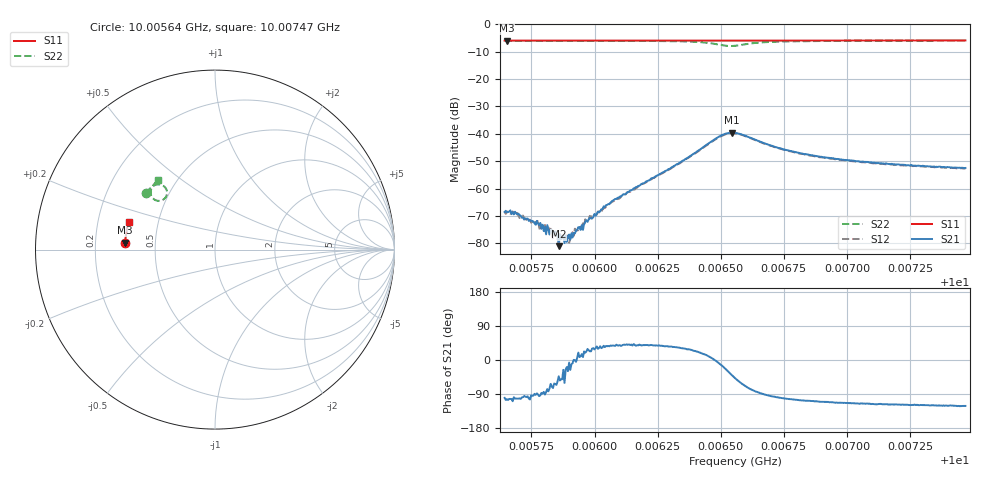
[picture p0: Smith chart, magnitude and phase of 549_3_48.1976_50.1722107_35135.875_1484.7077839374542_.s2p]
#  HZ  S  RI  R  50.00
! Rohde & Schwarz Vector Network Analyzer
! Rohde-Schwarz,ZNB20-2Port,1311601062101988,3.16
! Created: UTC 3/20/2024, 12:00:43 PM
! freq[Hz]  re:S11  im:S11  re:S21  im:S21  re:S12  im:S12  re:S22  im:S22
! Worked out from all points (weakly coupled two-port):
!   401 points, 10.00564 GHz to 10.00747 GHz, reference 50 ohm
!   highest |S21| = -39.57 dB at 10.00654 GHz (marker M1); lowest = -81.0 dB at 10.00586 GHz (marker M2)
!   lowest |S11| = -6.0 dB at 10.00565 GHz (marker M3), VSWR 3.01, Z = 16.6 + j1.72 ohm
!   |S11| at or under -10 dB: nowhere
!   |S22| runs from -8.0 to -6.0 dB; largest |S21 - S12| = 0.00066
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1.0005643e10  -0.5001 0.0382  -6.48e-05 -0.000368  -7.97e-05 -0.000373  -0.3848 0.3147
1.0005653e10  -0.4999 0.0388  -8.72e-05 -0.00036  -5.4e-05 -0.00038  -0.3843 0.3154
1.0005694e10  -0.5 0.0416  -7.03e-05 -0.00033  -5.84e-05 -0.000353  -0.3822 0.3178
1.0005767e10  -0.4996 0.0463  -6.75e-06 -0.000218  -2.37e-05 -0.000244  -0.3789 0.3221
1.000579e10  -0.4996 0.0478  1.01e-05 -0.000184  2.77e-05 -0.000201  -0.3778 0.3236
1.0005812e10  -0.4995 0.0492  4.87e-05 -0.00021  6.47e-06 -0.000178  -0.3766 0.3251
1.0005835e10  -0.4994 0.0508  4.22e-05 -0.000145  4.29e-05 -0.000111  -0.3754 0.3264
1.0005858e10  -0.4994 0.0523  6.48e-05 -6.07e-05  6.15e-05 -0.000131  -0.3741 0.3278
1.0005885e10  -0.4991 0.054  0.000126 -6e-05  0.000102 -7.25e-05  -0.3727 0.3294
1.0005908e10  -0.499 0.0553  0.000149 -2.99e-05  0.000132 1.44e-05  -0.3713 0.331
1.0005922e10  -0.4988 0.0564  0.000151 -7.44e-07  0.000185 -1.93e-06  -0.3706 0.3319
1.0005949e10  -0.4988 0.0582  0.000208 5.75e-05  0.000183 8.75e-05  -0.369 0.3337
1.0005972e10  -0.4985 0.0596  0.000216 0.00012  0.000234 0.00013  -0.3676 0.3352
1.0006073e10  -0.4981 0.0662  0.000475 0.000373  0.000442 0.000377  -0.3607 0.342
1.0006255e10  -0.4967 0.078  0.00141 0.00113  0.00132 0.00115  -0.3424 0.3558
1.0006488e10  -0.4935 0.0931  0.00856 -0.000878  0.00838 -0.000386  -0.2698 0.3325
1.0006543e10  -0.4931 0.0958  0.00814 -0.00663  0.00832 -0.00602  -0.2838 0.2818
1.0006557e10  -0.493 0.0965  0.00698 -0.0077  0.00728 -0.00714  -0.2962 0.2745
1.0006725e10  -0.492 0.1074  -0.000818 -0.00551  -0.000535 -0.00547  -0.3586 0.3202
1.0006862e10  -0.4903 0.1162  -0.00127 -0.00384  -0.00108 -0.00383  -0.3528 0.3437
1.0007168e10  -0.486 0.1355  -0.00129 -0.00249  -0.00112 -0.00251  -0.3355 0.3696
1.000747e10  -0.4809 0.1545  -0.00123 -0.00203  -0.00109 -0.00205  -0.3192 0.3867
